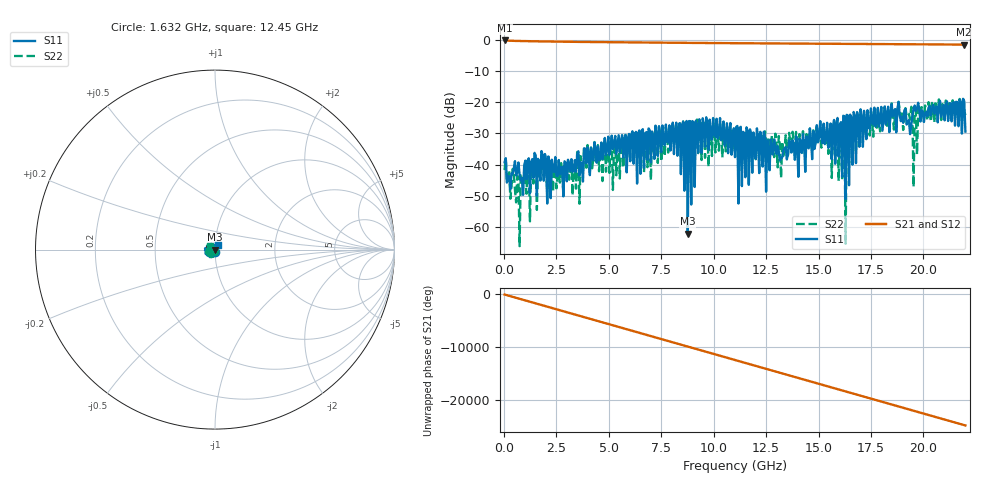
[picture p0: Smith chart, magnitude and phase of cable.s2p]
# GHz  S  MA  R 50.00
!  FREQ  S11M  S11A  S21M  S21A  S12M  S12A  S22M  S22A
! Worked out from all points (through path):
!   401 points, 40 MHz to 22 GHz, reference 50 ohm
!   highest |S21| = -0.07 dB at 40 MHz (marker M1); lowest = -1.4 dB at 21.95 GHz (marker M2)
!   lowest |S11| = -62.2 dB at 8.769 GHz (marker M3), VSWR 1.00, Z = 50 - j0.0642 ohm
!   |S11| at or under -10 dB: start of sweep to end of sweep
!   |S22| runs from -66.3 to -18.9 dB; largest |S21 - S12| = 0.0023
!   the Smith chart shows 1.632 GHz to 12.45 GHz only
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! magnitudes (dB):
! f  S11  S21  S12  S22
! 40 MHz  -39.3  -0.1  -0.1  -41.8
! 643.9 MHz  -42.3  -0.2  -0.2  -43.8
! 1.907 GHz  -45.2  -0.4  -0.4  -43.7
! 3.718 GHz  -39.6  -0.5  -0.5  -40.2
! 7.397 GHz  -27.7  -0.8  -0.8  -28.0
! 8.769 GHz  -62.2  -0.8  -0.8  -35.6
! 8.879 GHz  -26.1  -0.9  -0.9  -26.0
! 8.934 GHz  -52.9  -0.9  -0.8  -38.7
! 9.263 GHz  -36.2  -0.9  -0.9  -36.3
! 11.02 GHz  -37.6  -1.0  -1.0  -32.3
! 11.29 GHz  -27.9  -1.0  -1.0  -28.6
! 12.61 GHz  -34.9  -1.0  -1.0  -31.1
! 14.7 GHz  -38.3  -1.1  -1.1  -35.8
! 16.13 GHz  -43.9  -1.2  -1.2  -44.4
! 16.18 GHz  -24.3  -1.2  -1.2  -26.0
! 16.62 GHz  -40.0  -1.2  -1.2  -36.4
! 18.38 GHz  -29.6  -1.3  -1.3  -27.5
! 19.36 GHz  -30.2  -1.3  -1.3  -25.5
! 19.58 GHz  -21.0  -1.3  -1.3  -22.5
! 19.86 GHz  -26.1  -1.3  -1.3  -25.7
! 21.95 GHz  -19.6  -1.4  -1.4  -22.8
! 22 GHz  -29.4  -1.4  -1.4  -24.1
